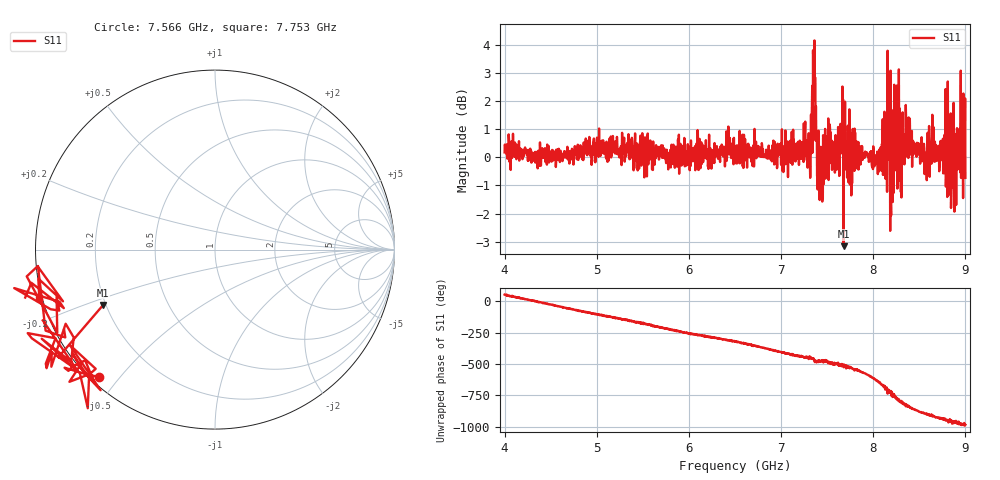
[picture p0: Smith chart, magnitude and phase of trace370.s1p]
! Created with skrf 1.8.0 (http://scikit-rf.org).
# Hz S RI R 50.0
!freq ReS11 ImS11
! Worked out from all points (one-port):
!   1601 points, 4 GHz to 9 GHz, reference 50 ohm
!   lowest |S11| = -3.2 dB at 7.678 GHz (marker M1), VSWR 5.56, Z = 9.48 - j11.3 ohm
!   |S11| at or under -10 dB: nowhere
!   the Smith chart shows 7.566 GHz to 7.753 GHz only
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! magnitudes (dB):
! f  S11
! 4 GHz  0.2
! 4.625 GHz  0.0
! 5.25 GHz  0.2
! 5.875 GHz  -0.2
! 6.5 GHz  0.4
! 7.125 GHz  0.2
! 7.297 GHz  0.2
! 7.359 GHz  2.4
! 7.372 GHz  2.3
! 7.4 GHz  0.6
! 7.428 GHz  -0.2
! 7.512 GHz  1.4
! 7.578 GHz  0.1
! 7.678 GHz  -3.2
! 7.703 GHz  0.4
! 7.75 GHz  0.0
! 8.066 GHz  0.3
! 8.162 GHz  1.3
! 8.197 GHz  0.9
! 8.253 GHz  0.5
! 8.312 GHz  1.4
! 8.334 GHz  0.4
! 8.375 GHz  0.5
! 8.556 GHz  -0.6
! 8.788 GHz  -1.0
! 8.869 GHz  -1.0
! 8.972 GHz  0.4
! 9 GHz  -0.7
